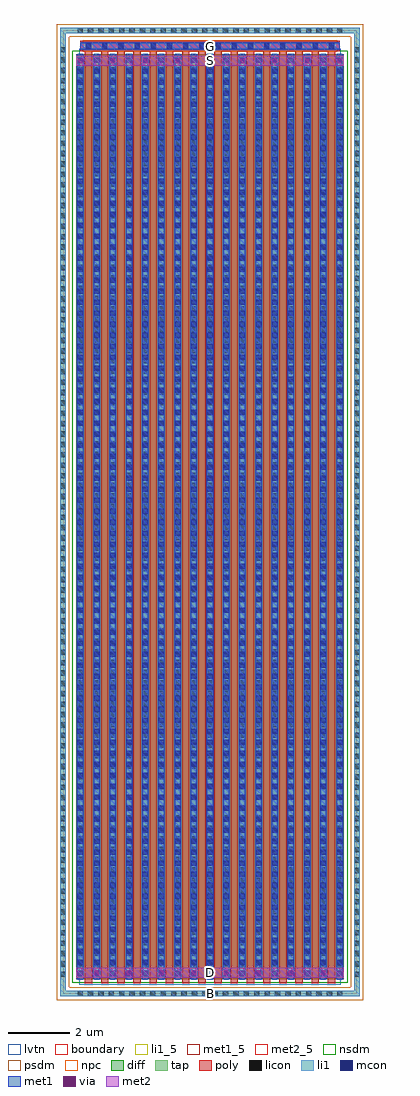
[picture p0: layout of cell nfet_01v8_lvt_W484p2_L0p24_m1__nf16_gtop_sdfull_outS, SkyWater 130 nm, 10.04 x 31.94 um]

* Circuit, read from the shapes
.subckt nfet_01v8_lvt_W484p2_L0p24_m1__nf16_gtop_sdfull_outS B D G S
XM1 D G S B sky130_fd_pr__nfet_01v8_lvt w=30.26 l=0.24 m=16
.ends

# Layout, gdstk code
import gdstk
lib = gdstk.Library(unit=1e-6, precision=1e-09)
def R(c, l, rs):  # rectangles x0, y0, x1, y1
    for r in rs: c.add(gdstk.rectangle(r[:2], r[2:], *l))
def A(c, l, x, y, w, h, nx, ny, dx, dy):  # array of equal rectangles
    R(c, l, [(x+i*dx, y+j*dy, x+i*dx+w, y+j*dy+h) for i in range(nx) for j in range(ny)])
diff = (65, 20)
tap = (65, 44)
poly = (66, 20)
licon = (66, 44)
li1_5 = (67, 5)
li1 = (67, 20)
mcon = (67, 44)
met1_5 = (68, 5)
met1 = (68, 20)
via = (68, 44)
met2_5 = (69, 5)
met2 = (69, 20)
nsdm = (93, 44)
psdm = (94, 20)
npc = (95, 20)
lvtn = (125, 44)
boundary = (235, 4)

sky130_fd_pr__nfet_01v8_ = lib.new_cell('sky130_fd_pr__nfet_01v8_lvt_ZTDKF6')
R(sky130_fd_pr__nfet_01v8_, diff, [(-4.385,-15.285,4.385,14.975)])
R(sky130_fd_pr__nfet_01v8_, tap, [(-4.895,-15.845,4.895,-15.675), (-4.895,-15.675,-4.725,15.675), (4.725,-15.675,4.895,15.675), (-4.895,15.675,4.895,15.845)])
A(sky130_fd_pr__nfet_01v8_, poly, -4.095, -15.415, 0.24, 30.5, 16, 1, 0.53, 0)
R(sky130_fd_pr__nfet_01v8_, poly, [(-4.24,15.085,4.24,15.415)])
A(sky130_fd_pr__nfet_01v8_, licon, -4.335, -15.845, 0.17, 0.17, 26, 2, 0.34, 31.52)
A(sky130_fd_pr__nfet_01v8_, licon, -4.895, -15.215, 0.17, 0.17, 1, 90, 0, 0.34)
A(sky130_fd_pr__nfet_01v8_, licon, 4.725, -15.215, 0.17, 0.17, 1, 90, 0, 0.34)
A(sky130_fd_pr__nfet_01v8_, licon, -4.325, -15.2, 0.17, 0.17, 17, 89, 0.53, 0.34)
A(sky130_fd_pr__nfet_01v8_, licon, -4.06, 15.165, 0.17, 0.17, 16, 1, 0.53, 0)
A(sky130_fd_pr__nfet_01v8_, li1, -4.325, -15.305, 0.17, 30.3, 17, 1, 0.53, 0)
R(sky130_fd_pr__nfet_01v8_, li1, [(-4.895,-15.845,4.895,-15.675), (-4.895,-15.675,-4.725,15.675), (4.725,-15.675,4.895,15.675), (-4.24,15.165,4.24,15.335), (-4.895,15.675,4.895,15.845)])
A(sky130_fd_pr__nfet_01v8_, mcon, -4.325, -15.18, 0.17, 0.17, 17, 84, 0.53, 0.36)
A(sky130_fd_pr__nfet_01v8_, mcon, -4.06, 15.165, 0.17, 0.17, 16, 1, 0.53, 0)
A(sky130_fd_pr__nfet_01v8_, met1, -4.355, -15.285, 0.23, 30.26, 17, 1, 0.53, 0)
A(sky130_fd_pr__nfet_01v8_, met1, -4.12, 15.135, 0.29, 0.03, 16, 2, 0.53, 0.2)
R(sky130_fd_pr__nfet_01v8_, met1, [(-4.24,15.165,4.24,15.335)])
R(sky130_fd_pr__nfet_01v8_, nsdm, [(-4.51,-15.41,4.51,15.1)])
R(sky130_fd_pr__nfet_01v8_, psdm, [(-5.02,-15.97,5.02,-15.55), (-5.02,-15.55,-4.6,15.55), (4.6,-15.55,5.02,15.55), (-5.02,15.55,5.02,15.97)])
R(sky130_fd_pr__nfet_01v8_, npc, [(-4.16,15.065,4.16,15.435)])
R(sky130_fd_pr__nfet_01v8_, lvtn, [(-4.275,-15.465,4.275,15.155)])
R(sky130_fd_pr__nfet_01v8_, boundary, [(-4.81,-15.76,4.81,15.76)])
sky130_fd_pr__nfet_01v8_.add(gdstk.Label('B', (0,-15.76), layer=67, texttype=5))
sky130_fd_pr__nfet_01v8_.add(gdstk.Label('D0', (-4.24,-0.155), layer=67, texttype=5))
sky130_fd_pr__nfet_01v8_.add(gdstk.Label('G', (3.975,15.25), layer=67, texttype=5))
sky130_fd_pr__nfet_01v8_.add(gdstk.Label('G', (3.445,15.25), layer=67, texttype=5))
sky130_fd_pr__nfet_01v8_.add(gdstk.Label('G', (2.915,15.25), layer=67, texttype=5))
sky130_fd_pr__nfet_01v8_.add(gdstk.Label('G', (2.385,15.25), layer=67, texttype=5))
sky130_fd_pr__nfet_01v8_.add(gdstk.Label('G', (1.855,15.25), layer=67, texttype=5))
sky130_fd_pr__nfet_01v8_.add(gdstk.Label('G', (1.325,15.25), layer=67, texttype=5))
sky130_fd_pr__nfet_01v8_.add(gdstk.Label('G', (0.795,15.25), layer=67, texttype=5))
sky130_fd_pr__nfet_01v8_.add(gdstk.Label('G', (0.265,15.25), layer=67, texttype=5))
sky130_fd_pr__nfet_01v8_.add(gdstk.Label('G', (-0.265,15.25), layer=67, texttype=5))
sky130_fd_pr__nfet_01v8_.add(gdstk.Label('G', (-0.795,15.25), layer=67, texttype=5))
sky130_fd_pr__nfet_01v8_.add(gdstk.Label('G', (-1.325,15.25), layer=67, texttype=5))
sky130_fd_pr__nfet_01v8_.add(gdstk.Label('G', (-1.855,15.25), layer=67, texttype=5))
sky130_fd_pr__nfet_01v8_.add(gdstk.Label('G', (-2.385,15.25), layer=67, texttype=5))
sky130_fd_pr__nfet_01v8_.add(gdstk.Label('G', (-2.915,15.25), layer=67, texttype=5))
sky130_fd_pr__nfet_01v8_.add(gdstk.Label('G', (-3.445,15.25), layer=67, texttype=5))
sky130_fd_pr__nfet_01v8_.add(gdstk.Label('G', (-3.975,15.25), layer=67, texttype=5))
sky130_fd_pr__nfet_01v8_.add(gdstk.Label('S1', (-3.71,-0.155), layer=67, texttype=5))
sky130_fd_pr__nfet_01v8_.add(gdstk.Label('D2', (-3.18,-0.155), layer=67, texttype=5))
sky130_fd_pr__nfet_01v8_.add(gdstk.Label('S3', (-2.65,-0.155), layer=67, texttype=5))
sky130_fd_pr__nfet_01v8_.add(gdstk.Label('D4', (-2.12,-0.155), layer=67, texttype=5))
sky130_fd_pr__nfet_01v8_.add(gdstk.Label('S5', (-1.59,-0.155), layer=67, texttype=5))
sky130_fd_pr__nfet_01v8_.add(gdstk.Label('D6', (-1.06,-0.155), layer=67, texttype=5))
sky130_fd_pr__nfet_01v8_.add(gdstk.Label('S7', (-0.53,-0.155), layer=67, texttype=5))
sky130_fd_pr__nfet_01v8_.add(gdstk.Label('D8', (0,-0.155), layer=67, texttype=5))
sky130_fd_pr__nfet_01v8_.add(gdstk.Label('S9', (0.53,-0.155), layer=67, texttype=5))
sky130_fd_pr__nfet_01v8_.add(gdstk.Label('D10', (1.06,-0.155), layer=67, texttype=5))
sky130_fd_pr__nfet_01v8_.add(gdstk.Label('S11', (1.59,-0.155), layer=67, texttype=5))
sky130_fd_pr__nfet_01v8_.add(gdstk.Label('D12', (2.12,-0.155), layer=67, texttype=5))
sky130_fd_pr__nfet_01v8_.add(gdstk.Label('S13', (2.65,-0.155), layer=67, texttype=5))
sky130_fd_pr__nfet_01v8_.add(gdstk.Label('D14', (3.18,-0.155), layer=67, texttype=5))
sky130_fd_pr__nfet_01v8_.add(gdstk.Label('S15', (3.71,-0.155), layer=67, texttype=5))

nfet_01v8_lvt_w484p2_l0p = lib.new_cell('nfet_01v8_lvt_W484p2_L0p24_m1__nf16_gtop_sdfull_outS')
R(nfet_01v8_lvt_w484p2_l0p, li1_5, [(4.725,-0.085,4.895,0.085)])
R(nfet_01v8_lvt_w484p2_l0p, li1, [(4.725,-0.085,4.895,0.085)])
R(nfet_01v8_lvt_w484p2_l0p, met1_5, [(0.57,30.895,9.05,31.125)])
A(nfet_01v8_lvt_w484p2_l0p, met1, 0.97, 0.525, 0.26, 0.32, 8, 1, 1.06, 0)
A(nfet_01v8_lvt_w484p2_l0p, met1, 0.44, 30.365, 0.26, 0.32, 9, 1, 1.06, 0)
R(nfet_01v8_lvt_w484p2_l0p, met1, [(0.57,30.895,9.05,31.125)])
A(nfet_01v8_lvt_w484p2_l0p, via, 1.025, 0.61, 0.15, 0.15, 8, 1, 1.06, 0)
A(nfet_01v8_lvt_w484p2_l0p, via, 0.495, 30.45, 0.15, 0.15, 9, 1, 1.06, 0)
R(nfet_01v8_lvt_w484p2_l0p, met2_5, [(0.435,0.525,9.185,0.845), (0.435,30.365,9.185,30.685)])
R(nfet_01v8_lvt_w484p2_l0p, met2, [(0.435,0.525,9.185,0.845), (0.435,30.365,9.185,30.685)])
nfet_01v8_lvt_w484p2_l0p.add(gdstk.Reference(sky130_fd_pr__nfet_01v8_, (4.81,15.76)))
nfet_01v8_lvt_w484p2_l0p.add(gdstk.Label('S', (4.81,30.525), layer=69, texttype=5))
nfet_01v8_lvt_w484p2_l0p.add(gdstk.Label('D', (4.81,0.685), layer=69, texttype=5))
nfet_01v8_lvt_w484p2_l0p.add(gdstk.Label('G', (4.81,31.01), layer=68, texttype=5))
nfet_01v8_lvt_w484p2_l0p.add(gdstk.Label('B', (4.81,0), layer=67, texttype=5))

lib.write_gds('nfet_01v8_lvt_W484p2_L0p24_m1__nf16_gtop_sdfull_outS.gds')
